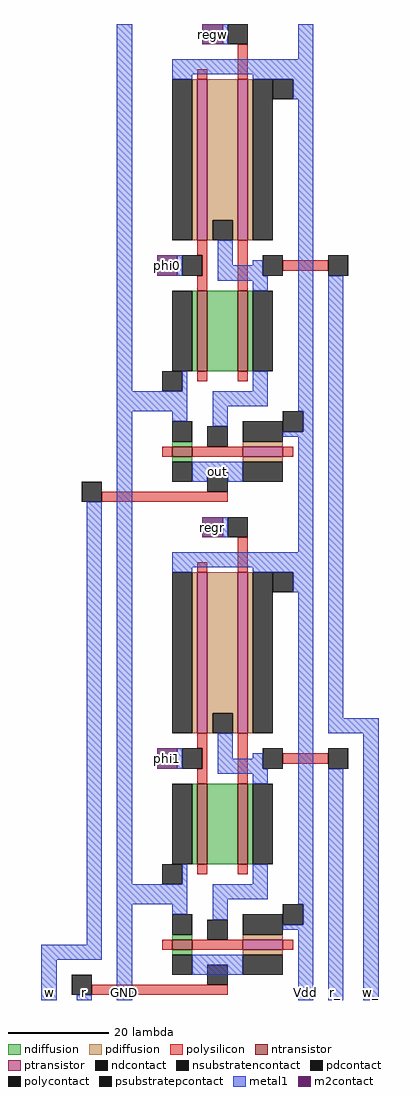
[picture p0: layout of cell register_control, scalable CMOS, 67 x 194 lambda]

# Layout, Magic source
magic
tech scmos
<< polysilicon >>
rect -2 155 0 157
rect 6 155 8 162
rect -2 120 0 123
rect -1 116 0 120
rect -2 113 0 116
rect 6 113 8 123
rect 15 117 24 119
rect -2 95 0 97
rect 6 95 8 97
rect -9 80 -7 82
rect -3 80 7 82
rect 15 80 17 82
rect -21 71 4 73
rect -2 57 0 59
rect 6 57 8 64
rect -2 22 0 25
rect -1 18 0 22
rect -2 15 0 18
rect 6 15 8 25
rect 15 19 24 21
rect -2 -3 0 -1
rect 6 -3 8 -1
rect -23 -27 4 -25
<< ndiffusion >>
rect -3 97 -2 113
rect 0 97 6 113
rect 8 97 9 113
rect -7 82 -3 83
rect -7 79 -3 80
rect -3 -1 -2 15
rect 0 -1 6 15
rect 8 -1 9 15
<< pdiffusion >>
rect -3 123 -2 155
rect 0 127 6 155
rect 0 123 1 127
rect 5 123 6 127
rect 8 123 9 155
rect 7 82 15 83
rect 7 79 15 80
rect -3 25 -2 57
rect 0 29 6 57
rect 0 25 1 29
rect 5 25 6 29
rect 8 25 9 57
<< metal1 >>
rect -18 93 -15 166
rect 3 162 4 166
rect 18 159 21 166
rect -7 156 21 159
rect -7 155 -3 156
rect 9 155 21 156
rect 17 151 21 155
rect -6 116 -5 120
rect 2 118 5 123
rect 9 118 11 119
rect 2 116 11 118
rect 2 115 12 116
rect 9 113 12 115
rect -5 93 -4 97
rect 9 93 12 97
rect -18 89 -4 93
rect -24 -17 -21 71
rect -33 -20 -21 -17
rect -18 -5 -15 89
rect -7 87 -4 89
rect 1 90 12 93
rect 1 86 4 90
rect 18 89 21 151
rect 19 85 21 89
rect 15 84 21 85
rect -3 77 7 79
rect -3 75 0 77
rect 4 75 7 77
rect 3 64 4 68
rect 18 61 21 84
rect -7 58 21 61
rect -7 57 -3 58
rect 9 57 21 58
rect 17 53 21 57
rect -6 18 -5 22
rect 2 20 5 25
rect 9 20 11 21
rect 2 18 11 20
rect 2 17 12 18
rect 9 15 12 17
rect -5 -5 -4 -1
rect 9 -5 12 -1
rect -18 -9 -4 -5
rect -33 -28 -30 -20
rect -26 -28 -23 -27
rect -18 -28 -15 -9
rect -7 -11 -4 -9
rect 1 -8 12 -5
rect 1 -12 4 -8
rect 18 -9 21 53
rect 24 28 27 116
rect 24 25 34 28
rect 19 -13 21 -9
rect 15 -14 21 -13
rect 18 -28 21 -14
rect 24 -28 27 18
rect 31 -28 34 25
<< ntransistor >>
rect -2 97 0 113
rect 6 97 8 113
rect -7 80 -3 82
rect -2 -1 0 15
rect 6 -1 8 15
<< ptransistor >>
rect -2 123 0 155
rect 6 123 8 155
rect 7 80 15 82
rect -2 25 0 57
rect 6 25 8 57
<< polycontact >>
rect 4 162 8 166
rect -5 116 -1 120
rect 11 116 15 120
rect 24 116 28 120
rect 0 82 4 86
rect -25 71 -21 75
rect 0 73 4 77
rect 4 64 8 68
rect -5 18 -1 22
rect 11 18 15 22
rect 24 18 28 22
rect 0 -16 4 -12
rect -27 -27 -23 -23
rect 0 -25 4 -21
<< ndcontact >>
rect -7 97 -3 113
rect 9 97 13 113
rect -7 83 -3 87
rect -7 75 -3 79
rect -7 -1 -3 15
rect 9 -1 13 15
<< pdcontact >>
rect -7 123 -3 155
rect 1 123 5 127
rect 9 123 13 155
rect 7 83 15 87
rect 7 75 15 79
rect -7 25 -3 57
rect 1 25 5 29
rect 9 25 13 57
<< m2contact >>
rect -1 162 3 166
rect -10 116 -6 120
rect -1 64 3 68
rect -10 18 -6 22
<< psubstratepcontact >>
rect -9 93 -5 97
rect -9 -5 -5 -1
<< nsubstratencontact >>
rect 13 151 17 155
rect 15 85 19 89
rect 13 53 17 57
rect 15 -13 19 -9
use inverter  inverter_0
transform 0 1 -14 -1 0 -16
box -5 5 7 31
<< labels >>
rlabel metal1 2 77 2 77 1 out
rlabel metal1 -18 -28 -15 -25 1 GND
rlabel metal1 18 -28 21 -25 1 Vdd
rlabel metal1 24 -28 27 -25 1 r_
rlabel metal1 31 -28 34 -25 8 w_
rlabel metal1 -26 -28 -23 -25 1 r
rlabel metal1 -33 -28 -30 -25 2 w
rlabel m2contact -10 18 -6 22 1 phi1
rlabel m2contact -10 116 -6 120 1 phi0
rlabel m2contact -1 64 3 68 1 regr
rlabel m2contact -1 162 3 166 5 regw
<< end >>

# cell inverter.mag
magic
tech scmos
<< polysilicon >>
rect 0 29 2 31
rect 0 11 2 21
rect 0 5 2 7
<< ndiffusion >>
rect -1 7 0 11
rect 2 7 3 11
<< pdiffusion >>
rect -1 21 0 29
rect 2 21 3 29
<< metal1 >>
rect 3 11 7 21
<< ntransistor >>
rect 0 7 2 11
<< ptransistor >>
rect 0 21 2 29
<< ndcontact >>
rect -5 7 -1 11
rect 3 7 7 11
<< pdcontact >>
rect -5 21 -1 29
rect 3 21 7 29
<< labels >>
rlabel metal1 5 16 5 16 7 out
<< end >>
